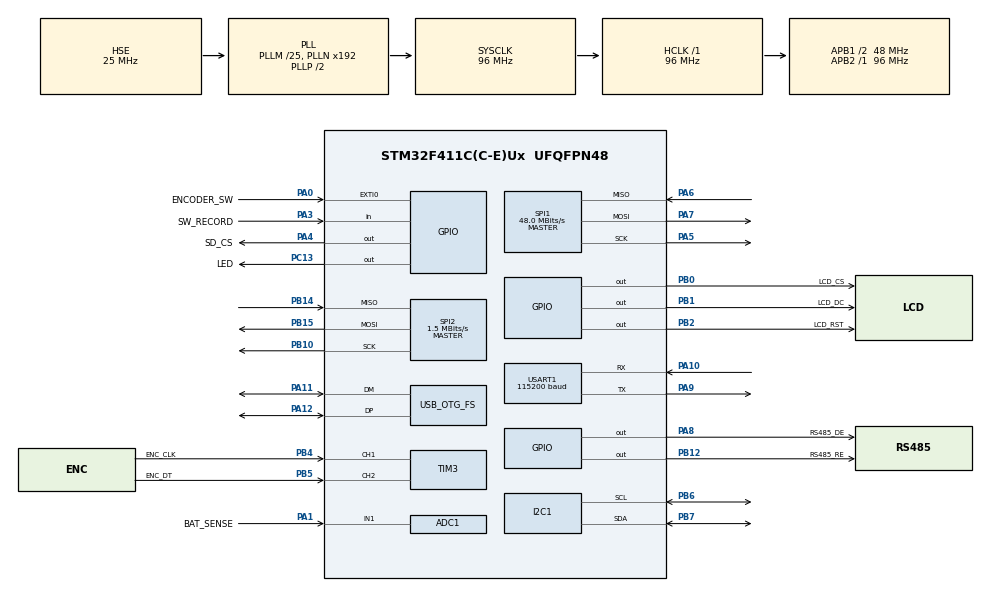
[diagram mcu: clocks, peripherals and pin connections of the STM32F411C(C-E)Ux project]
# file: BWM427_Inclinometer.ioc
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ADC1.Channel-0\#ChannelRegularConversion=ADC_CHANNEL_1
ADC1.NbrOfConversionFlag=1
ADC1.Rank-0\#ChannelRegularConversion=1
ADC1.SamplingTime-0\#ChannelRegularConversion=ADC_SAMPLETIME_480CYCLES
ADC1.master=1
FATFS._FS_LOCK=4
FATFS._USE_LFN=1
Mcu.Family=STM32F4
Mcu.Name=STM32F411C(C-E)Ux
Mcu.Package=UFQFPN48
NVIC.EXTI0_IRQn=true\:0\:0\:false\:false\:true\:true\:true\:true
NVIC.OTG_FS_IRQn=true\:5\:0\:false\:false\:true\:false\:true\:true
NVIC.PriorityGroup=NVIC_PRIORITYGROUP_4
NVIC.USART1_IRQn=true\:0\:0\:false\:false\:true\:true\:true\:true
PA0-WKUP.GPIO_Label=ENCODER_SW
PA0-WKUP.GPIO_ModeDefaultEXTI=GPIO_MODE_IT_FALLING
PA0-WKUP.GPIO_PuPd=GPIO_PULLUP
PA0-WKUP.Signal=GPXTI0
PA1.GPIO_Label=BAT_SENSE
PA1.Signal=ADCx_IN1
PA10.GPIO_PuPd=GPIO_PULLUP
PA10.Mode=Asynchronous
PA10.Signal=USART1_RX
PA11.Mode=Device_Only
PA11.Signal=USB_OTG_FS_DM
PA12.Mode=Device_Only
PA12.Signal=USB_OTG_FS_DP
PA3.GPIO_Label=SW_RECORD
PA3.GPIO_PuPd=GPIO_PULLUP
PA3.Signal=GPIO_Input
PA4.GPIO_Label=SD_CS
PA4.GPIO_Speed=GPIO_SPEED_FREQ_VERY_HIGH
PA4.PinState=GPIO_PIN_SET
PA4.Signal=GPIO_Output
PA5.Mode=Full_Duplex_Master
PA5.Signal=SPI1_SCK
PA6.Mode=Full_Duplex_Master
PA6.Signal=SPI1_MISO
PA7.Mode=Full_Duplex_Master
PA7.Signal=SPI1_MOSI
PA8.GPIO_Label=RS485_DE
PA8.Signal=GPIO_Output
PA9.Mode=Asynchronous
PA9.Signal=USART1_TX
PB0.GPIO_Label=LCD_CS
PB0.GPIO_Speed=GPIO_SPEED_FREQ_VERY_HIGH
PB0.PinState=GPIO_PIN_SET
PB0.Signal=GPIO_Output
PB1.GPIO_Label=LCD_DC
PB1.GPIO_Speed=GPIO_SPEED_FREQ_VERY_HIGH
PB1.PinState=GPIO_PIN_SET
PB1.Signal=GPIO_Output
PB10.Mode=Full_Duplex_Master
PB10.Signal=SPI2_SCK
PB12.GPIO_Label=RS485_RE
PB12.Signal=GPIO_Output
PB14.GPIO_PuPd=GPIO_PULLUP
PB14.Mode=Full_Duplex_Master
PB14.Signal=SPI2_MISO
PB15.Mode=Full_Duplex_Master
PB15.Signal=SPI2_MOSI
PB2.GPIO_Label=LCD_RST
PB2.GPIO_Speed=GPIO_SPEED_FREQ_VERY_HIGH
PB2.PinState=GPIO_PIN_SET
PB2.Signal=GPIO_Output
PB4.GPIO_Label=ENC_CLK
PB4.Signal=S_TIM3_CH1
PB5.GPIO_Label=ENC_DT
PB5.Signal=S_TIM3_CH2
PB6.Mode=I2C
PB6.Signal=I2C1_SCL
PB7.Mode=I2C
PB7.Signal=I2C1_SDA
PC13-ANTI_TAMP.GPIO_Label=LED
PC13-ANTI_TAMP.Signal=GPIO_Output
PH0\ -\ OSC_IN.Mode=HSE-External-Oscillator
PH0\ -\ OSC_IN.Signal=RCC_OSC_IN
PH1\ -\ OSC_OUT.Mode=HSE-External-Oscillator
PH1\ -\ OSC_OUT.Signal=RCC_OSC_OUT
ProjectManager.HeapSize=0x1000
ProjectManager.StackSize=0x1000
ProjectManager.TargetToolchain=STM32CubeIDE
RCC.48MHZClocksFreq_Value=48000000
RCC.AHBFreq_Value=96000000
RCC.APB1CLKDivider=RCC_HCLK_DIV2
RCC.APB1Freq_Value=48000000
RCC.APB1TimFreq_Value=96000000
RCC.APB2Freq_Value=96000000
RCC.APB2TimFreq_Value=96000000
RCC.CortexFreq_Value=96000000
RCC.HCLKFreq_Value=96000000
RCC.HSE_VALUE=25000000
RCC.HSI_VALUE=16000000
RCC.LSE_VALUE=32768
RCC.PLLM=25
RCC.PLLSourceVirtual=RCC_PLLSOURCE_HSE
RCC.SYSCLKFreq_VALUE=96000000
RCC.SYSCLKSource=RCC_SYSCLKSOURCE_PLLCLK
RCC.VCOOutputFreq_Value=192000000
SH.ADCx_IN1.0=ADC1_IN1,IN1
SH.S_TIM3_CH1.0=TIM3_CH1,Encoder_Interface
SH.S_TIM3_CH2.0=TIM3_CH2,Encoder_Interface
SPI1.BaudRatePrescaler=SPI_BAUDRATEPRESCALER_2
SPI1.CalculateBaudRate=48.0 MBits/s
SPI1.Direction=SPI_DIRECTION_2LINES
SPI1.Mode=SPI_MODE_MASTER
SPI1.VirtualType=VM_MASTER
SPI2.BaudRatePrescaler=SPI_BAUDRATEPRESCALER_32
SPI2.CalculateBaudRate=1.5 MBits/s
SPI2.Direction=SPI_DIRECTION_2LINES
SPI2.Mode=SPI_MODE_MASTER
SPI2.VirtualType=VM_MASTER
TIM3.EncoderMode=TIM_ENCODERMODE_TI12
TIM3.IC1Filter=10
TIM3.IC2Filter=10
USART1.BaudRate=115200
USART1.VirtualMode=VM_ASYNC
USB_DEVICE.APP_RX_DATA_SIZE=64
USB_DEVICE.APP_TX_DATA_SIZE=64
USB_DEVICE.CLASS_NAME_FS=CDC
USB_DEVICE.PRODUCT_STRING_CDC_FS=BWM427 Inclinometer
USB_DEVICE.VirtualMode-CDC_FS=Cdc
USB_DEVICE.VirtualModeFS=Cdc_FS
USB_OTG_FS.VirtualMode=Device_Only
VP_FATFS_VS_Generic.Mode=User_defined
VP_USB_DEVICE_VS_USB_DEVICE_CDC_FS.Mode=CDC_FS
board=custom

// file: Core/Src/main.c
/* USER CODE BEGIN Header */
/**
 ******************************************************************************
 * @file           : main.c
 * @brief          : Main program body
 ******************************************************************************
 * @attention
 *
 * Copyright (c) 2026 STMicroelectronics.
 * All rights reserved.
 *
 * This software is licensed under terms that can be found in the LICENSE file
 * in the root directory of this software component.
 * If no LICENSE file comes with this software, it is provided AS-IS.
 *
 ******************************************************************************
 */
/* USER CODE END Header */
#include "main.h"
#include "fatfs.h"

/* USER CODE BEGIN Includes */
// Логика прибора — app.c (датчики: bwm427.c, SD: sd_logger.c), интерфейс — ui/
#include "app.h"
#include "ui.h"
#include "ili9341.h"
// USB CDC: командная строка (диагностика, переход в загрузчик DFU) — usb_cli.c
#include "usb_device.h"
#include "usb_cli.h"
/* USER CODE END Includes */

ADC_HandleTypeDef hadc1;

I2C_HandleTypeDef hi2c1;

SPI_HandleTypeDef hspi1;
SPI_HandleTypeDef hspi2;

TIM_HandleTypeDef htim3;

UART_HandleTypeDef huart1;

void SystemClock_Config(void);
static void MX_GPIO_Init(void);
static void MX_USART1_UART_Init(void);
static void MX_I2C1_Init(void);
static void MX_ADC1_Init(void);
static void MX_TIM3_Init(void);
static void MX_SPI2_Init(void);
static void MX_SPI1_Init(void);

int main(void) {
	/* USER CODE BEGIN 1 */
	// Перед программным сбросом была команда boot (USB) — сразу в системный
	// загрузчик USB DFU, пока HAL и тактирование не тронуты. Иначе — возврат.
	usb_cli_boot_check();
	/* USER CODE END 1 */

	/* MCU Configuration--------------------------------------------------------*/

	/* Reset of all peripherals, Initializes the Flash interface and the Systick. */
	HAL_Init();

	/* Configure the system clock */
	SystemClock_Config();

	/* Initialize all configured peripherals */
	MX_GPIO_Init();
	MX_USART1_UART_Init();
	MX_I2C1_Init();
	MX_FATFS_Init();
	MX_ADC1_Init();
	MX_TIM3_Init();
	MX_SPI2_Init();
	MX_SPI1_Init();
	/* USER CODE BEGIN 2 */
	// Счётчик тактов DWT — для замера длительности прохода суперцикла
	CoreDebug->DEMCR |= CoreDebug_DEMCR_TRCENA_Msk;
	DWT->CYCCNT = 0;
	DWT->CTRL |= DWT_CTRL_CYCCNTENA_Msk;

	// USB CDC (виртуальный COM-порт): раньше остального, чтобы плату можно было
	// перевести в загрузчик, даже если дальше инициализация зависнет
	MX_USB_DEVICE_Init();

	// Энкодер (TIM3) и его кнопку (PA0) читает интерфейс (LVGL)
	HAL_TIM_Encoder_Start(&htim3, TIM_CHANNEL_ALL);

	// Часы, АЦП батареи, шина RS485, SD-карта
	app_init();

	// Дисплей и интерфейс
	ILI9341_Init();
	ui_init();
	/* USER CODE END 2 */

	/* Infinite loop */
	/* USER CODE BEGIN WHILE */
	while (1) {
		uint32_t c0 = DWT->CYCCNT;
		app_task(); // датчики, запись на SD, часы, батарея, тумблер
		uint32_t c1 = DWT->CYCCNT;
		ui_task();  // экран и энкодер
		app_diag_loop(c1 - c0, DWT->CYCCNT - c1);
		usb_cli_task(); // USB CDC: диагностика, переход в DFU
		/* USER CODE END WHILE */

	}
}

void SystemClock_Config(void) {
	RCC_OscInitTypeDef RCC_OscInitStruct = { 0 };
	RCC_ClkInitTypeDef RCC_ClkInitStruct = { 0 };

	/** Configure the main internal regulator output voltage
	 */
	__HAL_RCC_PWR_CLK_ENABLE();
	__HAL_PWR_VOLTAGESCALING_CONFIG(PWR_REGULATOR_VOLTAGE_SCALE1);

	/** Initializes the RCC Oscillators according to the specified parameters
	 * in the RCC_OscInitTypeDef structure.
	 */
	RCC_OscInitStruct.OscillatorType = RCC_OSCILLATORTYPE_HSE;
	RCC_OscInitStruct.HSEState = RCC_HSE_ON;
	RCC_OscInitStruct.PLL.PLLState = RCC_PLL_ON;
	RCC_OscInitStruct.PLL.PLLSource = RCC_PLLSOURCE_HSE;
	RCC_OscInitStruct.PLL.PLLM = 25;
	RCC_OscInitStruct.PLL.PLLN = 192;
	RCC_OscInitStruct.PLL.PLLP = RCC_PLLP_DIV2;
	RCC_OscInitStruct.PLL.PLLQ = 4;
	if (HAL_RCC_OscConfig(&RCC_OscInitStruct) != HAL_OK) {
		Error_Handler();
	}

	/** Initializes the CPU, AHB and APB buses clocks
	 */
	RCC_ClkInitStruct.ClockType = RCC_CLOCKTYPE_HCLK | RCC_CLOCKTYPE_SYSCLK
			| RCC_CLOCKTYPE_PCLK1 | RCC_CLOCKTYPE_PCLK2;
	RCC_ClkInitStruct.SYSCLKSource = RCC_SYSCLKSOURCE_PLLCLK;
	RCC_ClkInitStruct.AHBCLKDivider = RCC_SYSCLK_DIV1;
	RCC_ClkInitStruct.APB1CLKDivider = RCC_HCLK_DIV2;
	RCC_ClkInitStruct.APB2CLKDivider = RCC_HCLK_DIV1;

	if (HAL_RCC_ClockConfig(&RCC_ClkInitStruct, FLASH_LATENCY_3) != HAL_OK) {
		Error_Handler();
	}
}

static void MX_ADC1_Init(void) {

	ADC_ChannelConfTypeDef sConfig = { 0 };

	/** Configure the global features of the ADC (Clock, Resolution, Data Alignment and number of conversion)
	 */
	hadc1.Instance = ADC1;
	hadc1.Init.ClockPrescaler = ADC_CLOCK_SYNC_PCLK_DIV4;
	hadc1.Init.Resolution = ADC_RESOLUTION_12B;
	hadc1.Init.ScanConvMode = DISABLE;
	hadc1.Init.ContinuousConvMode = DISABLE;
	hadc1.Init.DiscontinuousConvMode = DISABLE;
	hadc1.Init.ExternalTrigConvEdge = ADC_EXTERNALTRIGCONVEDGE_NONE;
	hadc1.Init.ExternalTrigConv = ADC_SOFTWARE_START;
	hadc1.Init.DataAlign = ADC_DATAALIGN_RIGHT;
	hadc1.Init.NbrOfConversion = 1;
	hadc1.Init.DMAContinuousRequests = DISABLE;
	hadc1.Init.EOCSelection = ADC_EOC_SINGLE_CONV;
	if (HAL_ADC_Init(&hadc1) != HAL_OK) {
		Error_Handler();
	}

	/** Configure for the selected ADC regular channel its corresponding rank in the sequencer and its sample time.
	 */
	sConfig.Channel = ADC_CHANNEL_1;
	sConfig.Rank = 1;
	sConfig.SamplingTime = ADC_SAMPLETIME_480CYCLES;
	if (HAL_ADC_ConfigChannel(&hadc1, &sConfig) != HAL_OK) {
		Error_Handler();
	}

}

static void MX_I2C1_Init(void) {

	hi2c1.Instance = I2C1;
	hi2c1.Init.ClockSpeed = 100000;
	hi2c1.Init.DutyCycle = I2C_DUTYCYCLE_2;
	hi2c1.Init.OwnAddress1 = 0;
	hi2c1.Init.AddressingMode = I2C_ADDRESSINGMODE_7BIT;
	hi2c1.Init.DualAddressMode = I2C_DUALADDRESS_DISABLE;
	hi2c1.Init.OwnAddress2 = 0;
	hi2c1.Init.GeneralCallMode = I2C_GENERALCALL_DISABLE;
	hi2c1.Init.NoStretchMode = I2C_NOSTRETCH_DISABLE;
	if (HAL_I2C_Init(&hi2c1) != HAL_OK) {
		Error_Handler();
	}

}

static void MX_SPI1_Init(void) {

	/* SPI1 parameter configuration*/
	hspi1.Instance = SPI1;
	hspi1.Init.Mode = SPI_MODE_MASTER;
	hspi1.Init.Direction = SPI_DIRECTION_2LINES;
	hspi1.Init.DataSize = SPI_DATASIZE_8BIT;
	hspi1.Init.CLKPolarity = SPI_POLARITY_LOW;
	hspi1.Init.CLKPhase = SPI_PHASE_1EDGE;
	hspi1.Init.NSS = SPI_NSS_SOFT;
	hspi1.Init.BaudRatePrescaler = SPI_BAUDRATEPRESCALER_2;
	hspi1.Init.FirstBit = SPI_FIRSTBIT_MSB;
	hspi1.Init.TIMode = SPI_TIMODE_DISABLE;
	hspi1.Init.CRCCalculation = SPI_CRCCALCULATION_DISABLE;
	hspi1.Init.CRCPolynomial = 10;
	if (HAL_SPI_Init(&hspi1) != HAL_OK) {
		Error_Handler();
	}

}

static void MX_SPI2_Init(void) {

	/* SPI2 parameter configuration*/
	hspi2.Instance = SPI2;
	hspi2.Init.Mode = SPI_MODE_MASTER;
	hspi2.Init.Direction = SPI_DIRECTION_2LINES;
	hspi2.Init.DataSize = SPI_DATASIZE_8BIT;
	hspi2.Init.CLKPolarity = SPI_POLARITY_LOW;
	hspi2.Init.CLKPhase = SPI_PHASE_1EDGE;
	hspi2.Init.NSS = SPI_NSS_SOFT;
	hspi2.Init.BaudRatePrescaler = SPI_BAUDRATEPRESCALER_32;
	hspi2.Init.FirstBit = SPI_FIRSTBIT_MSB;
	hspi2.Init.TIMode = SPI_TIMODE_DISABLE;
	hspi2.Init.CRCCalculation = SPI_CRCCALCULATION_DISABLE;
	hspi2.Init.CRCPolynomial = 10;
	if (HAL_SPI_Init(&hspi2) != HAL_OK) {
		Error_Handler();
	}

}

static void MX_TIM3_Init(void) {

	TIM_Encoder_InitTypeDef sConfig = { 0 };
	TIM_MasterConfigTypeDef sMasterConfig = { 0 };

	htim3.Instance = TIM3;
	htim3.Init.Prescaler = 0;
	htim3.Init.CounterMode = TIM_COUNTERMODE_UP;
	htim3.Init.Period = 65535;
	htim3.Init.ClockDivision = TIM_CLOCKDIVISION_DIV1;
	htim3.Init.AutoReloadPreload = TIM_AUTORELOAD_PRELOAD_DISABLE;
	sConfig.EncoderMode = TIM_ENCODERMODE_TI12;
	sConfig.IC1Polarity = TIM_ICPOLARITY_RISING;
	sConfig.IC1Selection = TIM_ICSELECTION_DIRECTTI;
	sConfig.IC1Prescaler = TIM_ICPSC_DIV1;
	sConfig.IC1Filter = 10;
	sConfig.IC2Polarity = TIM_ICPOLARITY_RISING;
	sConfig.IC2Selection = TIM_ICSELECTION_DIRECTTI;
	sConfig.IC2Prescaler = TIM_ICPSC_DIV1;
	sConfig.IC2Filter = 10;
	if (HAL_TIM_Encoder_Init(&htim3, &sConfig) != HAL_OK) {
		Error_Handler();
	}
	sMasterConfig.MasterOutputTrigger = TIM_TRGO_RESET;
	sMasterConfig.MasterSlaveMode = TIM_MASTERSLAVEMODE_DISABLE;
	if (HAL_TIMEx_MasterConfigSynchronization(&htim3, &sMasterConfig)
			!= HAL_OK) {
		Error_Handler();
	}

}

static void MX_USART1_UART_Init(void) {

	huart1.Instance = USART1;
	huart1.Init.BaudRate = 115200;
	huart1.Init.WordLength = UART_WORDLENGTH_8B;
	huart1.Init.StopBits = UART_STOPBITS_1;
	huart1.Init.Parity = UART_PARITY_NONE;
	huart1.Init.Mode = UART_MODE_TX_RX;
	huart1.Init.HwFlowCtl = UART_HWCONTROL_NONE;
	huart1.Init.OverSampling = UART_OVERSAMPLING_16;
	if (HAL_UART_Init(&huart1) != HAL_OK) {
		Error_Handler();
	}

}

static void MX_GPIO_Init(void) {
	GPIO_InitTypeDef GPIO_InitStruct = { 0 };

	/* GPIO Ports Clock Enable */
	__HAL_RCC_GPIOC_CLK_ENABLE();
	__HAL_RCC_GPIOH_CLK_ENABLE();
	__HAL_RCC_GPIOA_CLK_ENABLE();
	__HAL_RCC_GPIOB_CLK_ENABLE();

	/*Configure GPIO pin Output Level */
	HAL_GPIO_WritePin(LED_GPIO_Port, LED_Pin, GPIO_PIN_RESET);

	/*Configure GPIO pin Output Level */
	HAL_GPIO_WritePin(SD_CS_GPIO_Port, SD_CS_Pin, GPIO_PIN_SET);

	/*Configure GPIO pin Output Level */
	HAL_GPIO_WritePin(GPIOB, LCD_CS_Pin | LCD_DC_Pin | LCD_RST_Pin,
			GPIO_PIN_SET);

	/*Configure GPIO pin Output Level */
	HAL_GPIO_WritePin(RS485_RE_GPIO_Port, RS485_RE_Pin, GPIO_PIN_RESET);

	/*Configure GPIO pin Output Level */
	HAL_GPIO_WritePin(RS485_DE_GPIO_Port, RS485_DE_Pin, GPIO_PIN_RESET);

	/*Configure GPIO pin : LED_Pin */
	GPIO_InitStruct.Pin = LED_Pin;
	GPIO_InitStruct.Mode = GPIO_MODE_OUTPUT_PP;
	GPIO_InitStruct.Pull = GPIO_NOPULL;
	GPIO_InitStruct.Speed = GPIO_SPEED_FREQ_LOW;
	HAL_GPIO_Init(LED_GPIO_Port, &GPIO_InitStruct);

	/*Configure GPIO pin : ENCODER_SW_Pin */
	GPIO_InitStruct.Pin = ENCODER_SW_Pin;
	GPIO_InitStruct.Mode = GPIO_MODE_IT_FALLING;
	GPIO_InitStruct.Pull = GPIO_PULLUP;
	HAL_GPIO_Init(ENCODER_SW_GPIO_Port, &GPIO_InitStruct);

	/*Configure GPIO pin : SW_RECORD_Pin */
	GPIO_InitStruct.Pin = SW_RECORD_Pin;
	GPIO_InitStruct.Mode = GPIO_MODE_INPUT;
	GPIO_InitStruct.Pull = GPIO_PULLUP;
	HAL_GPIO_Init(SW_RECORD_GPIO_Port, &GPIO_InitStruct);

	/*Configure GPIO pin : SD_CS_Pin */
	GPIO_InitStruct.Pin = SD_CS_Pin;
	GPIO_InitStruct.Mode = GPIO_MODE_OUTPUT_PP;
	GPIO_InitStruct.Pull = GPIO_NOPULL;
	GPIO_InitStruct.Speed = GPIO_SPEED_FREQ_VERY_HIGH;
	HAL_GPIO_Init(SD_CS_GPIO_Port, &GPIO_InitStruct);

	/*Configure GPIO pins : LCD_CS_Pin LCD_DC_Pin LCD_RST_Pin */
	GPIO_InitStruct.Pin = LCD_CS_Pin | LCD_DC_Pin | LCD_RST_Pin;
	GPIO_InitStruct.Mode = GPIO_MODE_OUTPUT_PP;
	GPIO_InitStruct.Pull = GPIO_NOPULL;
	GPIO_InitStruct.Speed = GPIO_SPEED_FREQ_VERY_HIGH;
	HAL_GPIO_Init(GPIOB, &GPIO_InitStruct);

	/*Configure GPIO pin : RS485_RE_Pin */
	GPIO_InitStruct.Pin = RS485_RE_Pin;
	GPIO_InitStruct.Mode = GPIO_MODE_OUTPUT_PP;
	GPIO_InitStruct.Pull = GPIO_NOPULL;
	GPIO_InitStruct.Speed = GPIO_SPEED_FREQ_LOW;
	HAL_GPIO_Init(RS485_RE_GPIO_Port, &GPIO_InitStruct);

	/*Configure GPIO pin : RS485_DE_Pin */
	GPIO_InitStruct.Pin = RS485_DE_Pin;
	GPIO_InitStruct.Mode = GPIO_MODE_OUTPUT_PP;
	GPIO_InitStruct.Pull = GPIO_NOPULL;
	GPIO_InitStruct.Speed = GPIO_SPEED_FREQ_LOW;
	HAL_GPIO_Init(RS485_DE_GPIO_Port, &GPIO_InitStruct);

	/* EXTI interrupt init*/
	HAL_NVIC_SetPriority(EXTI0_IRQn, 0, 0);
	HAL_NVIC_EnableIRQ(EXTI0_IRQn);

	/* USER CODE BEGIN MX_GPIO_Init_2 */
	// Светодиод PC13 (активный 0) погасить; горит во время записи (app.c)
	HAL_GPIO_WritePin(LED_GPIO_Port, LED_Pin, GPIO_PIN_SET);

	/* USER CODE END MX_GPIO_Init_2 */
}

void Error_Handler(void) {
	__disable_irq();
	while (1) {
	}
}
